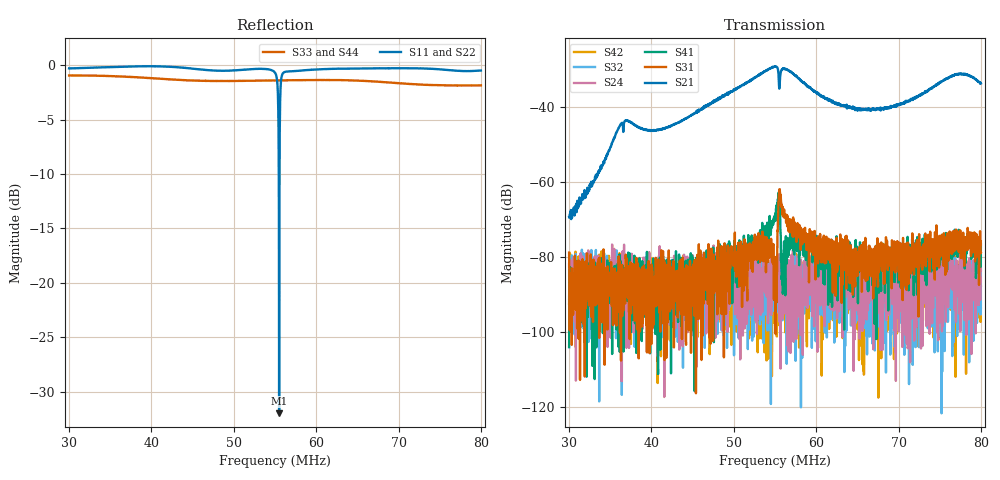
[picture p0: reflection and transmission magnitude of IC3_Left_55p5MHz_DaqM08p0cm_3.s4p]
#  HZ  S  DB  R  50.00
! Rohde & Schwarz Vector Network Analyzer
! Rohde-Schwarz,ZNB8-4Port,1311601044102961,2.82
! Created: UTC 2/13/2019, 9:47:07 AM
! freq[Hz]  db:S11  ang:S11  db:S12  ang:S12  db:S13  ang:S13  db:S14  ang:S14
!  db:S21  ang:S21  db:S22  ang:S22  db:S23  ang:S23  db:S24  ang:S24
!  db:S31  ang:S31  db:S32  ang:S32  db:S33  ang:S33  db:S34  ang:S34
!  db:S41  ang:S41  db:S42  ang:S42  db:S43  ang:S43  db:S44  ang:S44
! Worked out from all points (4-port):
!   2001 points, 30 MHz to 80 MHz, reference 50 ohm
!   strongest paths, dB at 30 MHz, 42.5 MHz, 55 MHz, 67.5 MHz, 80 MHz:
!     S21: -69.3, -44.8, -29.1, -40.4, -33.6
!     S31: -78.8, -82.7, -82.3, -87.9, -78.9
!     S41: -104.1, -84.4, -69.5, -80.6, -76.5
!     S24: -81.9, -88.5, -85.3, -80.4, -83.4
!     S32: -91.3, -90.0, -82.8, -98.6, -93.7
!     S42: -92.5, -91.6, -92.6, -95.8, -87.7
!   lowest |S11| = -32.0 dB at 55.5 MHz (marker M1), VSWR 1.05, Z = 47.7 + j0.739 ohm
!   |S11| at or under -10 dB: 55.45846 MHz to 55.54637 MHz (87.91 kHz wide, 0.158 % of centre)
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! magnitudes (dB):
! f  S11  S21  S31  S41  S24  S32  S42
! 30 MHz  -0.3  -69.3  -78.8  -104.1  -81.9  -91.3  -92.5
! 36.9 MHz  -0.1  -43.5  -80.5  -83.8  -86.7  -84.9  -93.8
! 54.98 MHz  -0.6  -29.1  -87.5  -69.5  -85.3  -88.1  -97.9
! 55.5 MHz  -32.0  -34.6  -62.4  -62.7  -97.2  -84.2  -86.1
! 56.05 MHz  -0.7  -29.7  -68.0  -78.3  -78.9  -93.5  -88.5
! 65.72 MHz  -0.3  -40.7  -79.4  -79.3  -87.5  -86.5  -110.4
! 80 MHz  -0.5  -33.6  -78.9  -76.5  -83.4  -93.7  -87.7
